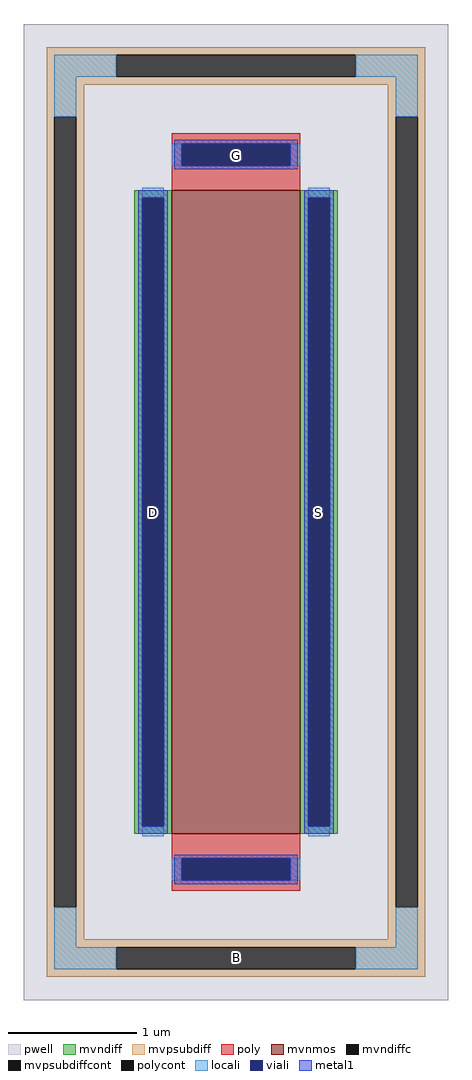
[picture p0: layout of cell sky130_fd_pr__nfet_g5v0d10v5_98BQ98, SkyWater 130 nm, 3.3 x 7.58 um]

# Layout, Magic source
magic
tech sky130A
<< pwell >>
rect -165 -379 165 379
<< mvnmos >>
rect -50 -250 50 250
<< mvndiff >>
rect -79 244 -50 250
rect -79 -244 -73 244
rect -56 -244 -50 244
rect -79 -250 -50 -244
rect 50 244 79 250
rect 50 -244 56 244
rect 73 -244 79 244
rect 50 -250 79 -244
<< mvndiffc >>
rect -73 -244 -56 244
rect 56 -244 73 244
<< mvpsubdiff >>
rect -147 355 147 361
rect -147 338 -93 355
rect 93 338 147 355
rect -147 332 147 338
rect -147 307 -118 332
rect -147 -307 -141 307
rect -124 -307 -118 307
rect 118 307 147 332
rect -147 -332 -118 -307
rect 118 -307 124 307
rect 141 -307 147 307
rect 118 -332 147 -307
rect -147 -338 147 -332
rect -147 -355 -93 -338
rect 93 -355 147 -338
rect -147 -361 147 -355
<< mvpsubdiffcont >>
rect -93 338 93 355
rect -141 -307 -124 307
rect 124 -307 141 307
rect -93 -355 93 -338
<< poly >>
rect -50 286 50 294
rect -50 269 -42 286
rect 42 269 50 286
rect -50 250 50 269
rect -50 -269 50 -250
rect -50 -286 -42 -269
rect 42 -286 50 -269
rect -50 -294 50 -286
<< polycont >>
rect -42 269 42 286
rect -42 -286 42 -269
<< locali >>
rect -141 338 -93 355
rect 93 338 141 355
rect -141 307 -124 338
rect 124 307 141 338
rect -50 269 -42 286
rect 42 269 50 286
rect -73 244 -56 252
rect -73 -252 -56 -244
rect 56 244 73 252
rect 56 -252 73 -244
rect -50 -286 -42 -269
rect 42 -286 50 -269
rect -141 -338 -124 -307
rect 124 -338 141 -307
rect -141 -355 -93 -338
rect 93 -355 141 -338
<< viali >>
rect -42 269 42 286
rect -73 -244 -56 244
rect 56 -244 73 244
rect -42 -286 42 -269
<< metal1 >>
rect -48 286 48 289
rect -48 269 -42 286
rect 42 269 48 286
rect -48 266 48 269
rect -76 244 -53 250
rect -76 -244 -73 244
rect -56 -244 -53 244
rect -76 -250 -53 -244
rect 53 244 76 250
rect 53 -244 56 244
rect 73 -244 76 244
rect 53 -250 76 -244
rect -48 -269 48 -266
rect -48 -286 -42 -269
rect 42 -286 48 -269
rect -48 -289 48 -286
<< labels >>
rlabel mvpsubdiffcont 0 -346 0 -346 0 B
port 1 nsew
rlabel mvndiffc -64 0 -64 0 0 D
port 2 nsew
rlabel mvndiffc 64 0 64 0 0 S
port 3 nsew
rlabel polycont 0 277 0 277 0 G
port 4 nsew
<< properties >>
string FIXED_BBOX -132 -346 132 346
string gencell sky130_fd_pr__nfet_g5v0d10v5
string library sky130
string parameters w 5 l 1 m 1 nf 1 diffcov 100 polycov 100 guard 1 glc 1 grc 1 gtc 1 gbc 1 tbcov 100 rlcov 100 topc 1 botc 1 poverlap 0 doverlap 1 lmin 0.50 wmin 0.42 class mosfet compatible {sky130_fd_pr__nfet_01v8 sky130_fd_pr__nfet_01v8_lvt  sky130_fd_bs_flash__special_sonosfet_star  sky130_fd_pr__nfet_g5v0d10v5 sky130_fd_pr__nfet_05v0_nvt  sky130_fd_pr__nfet_03v3_nvt} full_metal 1 conn_gates 0 viasrc 100 viadrn 100 viagate 100 viagb 0 viagr 0 viagl 0 viagt 0 doports 1
<< end >>
